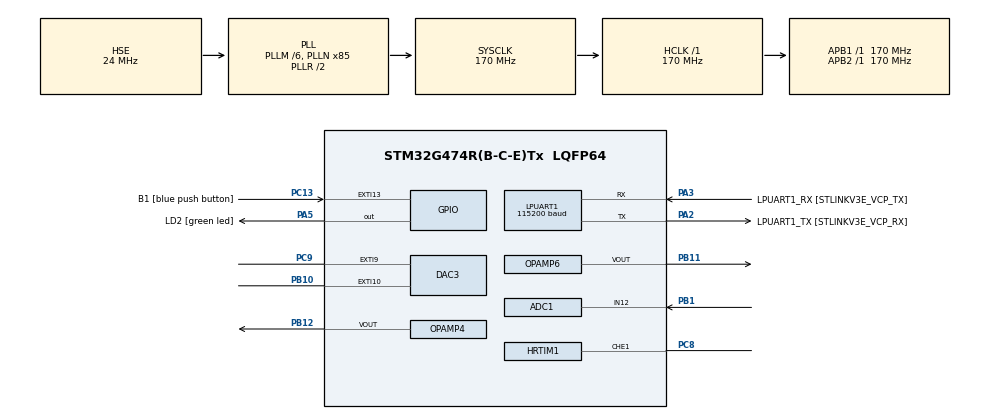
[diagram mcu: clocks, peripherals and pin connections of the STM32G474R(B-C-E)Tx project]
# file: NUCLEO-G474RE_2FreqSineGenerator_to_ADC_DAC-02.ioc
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Mcu.Family=STM32G4
HRTIM1.NumberSetSource1-Output_TE1=1
NVIC.ADC1_2_IRQn=true\:0\:0\:false\:false\:true\:true\:true
RCC.CortexFreq_Value=170000000
HRTIM1.InterleavedMode-Output_TE1=HRTIM_INTERLEAVED_MODE_DISABLED
Dma.DAC3_CH1.0.Polarity=HAL_DMAMUX_REQ_GEN_RISING
ADC1.InjectedOffsetNumber-2\#ChannelInjectedConversion=ADC_OFFSET_NONE
ADC1.Overrun=ADC_OVR_DATA_OVERWRITTEN
ADC1.ContinuousConvMode=DISABLE
Dma.DAC3_CH1.0.MemInc=DMA_MINC_ENABLE
PA14.GPIO_Label=T_SWCLK
Dma.DAC3_CH1.0.PeriphInc=DMA_PINC_DISABLE
LPUART1.WordLength=UART_WORDLENGTH_8B
PC13.GPIO_Label=B1 [blue push button]
PB11.Signal=OPAMP6_VOUT
RCC.SYSCLKSource=RCC_SYSCLKSOURCE_PLLCLK
ProjectManager.StackSize=0x400
Dma.DAC3_CH1.0.MemDataAlignment=DMA_MDATAALIGN_WORD
Dma.DAC3_CH1.0.SyncPolarity=HAL_DMAMUX_SYNC_NO_EVENT
Dma.DAC3_CH1.0.SyncEnable=DISABLE
HRTIM1.CompareUnit4-Output_TE1=HRTIM_COMPAREUNIT_4
DAC4.DAC_Trigger2_OUT1-DAC_OUT1_Int=DAC_TRIGGER_NONE
RCC.HCLKFreq_Value=170000000
RCC.APB2TimFreq_Value=170000000
DAC3.DAC_Trigger_OUT1-DAC_OUT1_Int=DAC_TRIGGER_T6_TRGO
ADC1.InjNumberOfConversion=1
HRTIM1.CompareUnit3-Output_TE1=__NULL
HRTIM1.CompareUnit2-Output_TE1=__NULL
RCC.AHBFreq_Value=170000000
HRTIM1.NumberResetSource1-Output_TE1=1
HRTIM1.ORingUpdateSource_ADCTrigger1=HRTIM_ADCTRIGGERUPDATE_TIMER_E
ADC1.Channel-0\#ChannelRegularConversion=ADC_CHANNEL_12
ADC1.ExternalTrigInjecConv=ADC_EXTERNALTRIGINJEC_HRTIM_TRG2
RCC.HSE_VALUE=24000000
PB3.Mode=Trace_Asynchronous_SW
OPAMP6.PowerMode=OPAMP_POWERMODE_HIGHSPEED
RCC.ADC12Freq_Value=170000000
RCC.RTCClockSelection=RCC_RTCCLKSOURCE_LSE
VP_DAC3_VS_DACI1.Mode=DAC_OUT1_Int
PC14-OSC32_IN.Mode=LSE-External-Oscillator
PA14.Mode=Trace_Asynchronous_SW
VP_SYS_VS_DBSignals.Mode=DisableDeadBatterySignals
HRTIM1.CompareValue4-Output_TE1=54400/2
ADC1.InjectedConvMode=None
HRTIM1.ResetOutput1_Source1-Output_TE1=HRTIM_OUTPUTRESET_TIMCMP4
OPAMP4.PowerMode=OPAMP_POWERMODE_HIGHSPEED
ADC1.SamplingTime-0\#ChannelRegularConversion=ADC_SAMPLETIME_12CYCLES_5
Mcu.Package=LQFP64
PB1.Signal=ADC1_IN12
PB12.Mode=Follower-DAC_OUT2-INP
ADC1.EnableInjectedConversion=ENABLE
ADC1.InjectedChannel-2\#ChannelInjectedConversion=ADC_CHANNEL_12
Dma.DAC3_CH1.0.Mode=DMA_CIRCULAR
TIM6.PeriodNoDither=5-1
PA2.GPIO_Label=LPUART1_TX [STLINKV3E_VCP_RX]
HRTIM1.ADCTrigger1_Source1=HRTIM_ADCTRIGGEREVENT13_TIMERE_PERIOD
ADC1.Rank1_Channel=ADC_CHANNEL_12
HRTIM1.NumberADCTriggerSource2=1
HRTIM1.NumberADCTriggerSource1=1
RCC.APB1TimFreq_Value=170000000
PF1-OSC_OUT.Mode=HSE-External-Oscillator
Dma.Request0=DAC3_CH1
ADC1.EOCSelection=ADC_EOC_SEQ_CONV
ADC1.InjectedSamplingTime-2\#ChannelInjectedConversion=ADC_SAMPLETIME_12CYCLES_5
PF1-OSC_OUT.Signal=RCC_OSC_OUT
RCC.HSI48_VALUE=48000000
PC9.GPIO_ModeDefaultEXTI=GPIO_MODE_IT_FALLING
PA3.Signal=LPUART1_RX
PB3.GPIO_Label=T_SWO
RCC.PLLSourceVirtual=RCC_PLLSOURCE_HSE
PC15-OSC32_OUT.Mode=LSE-External-Oscillator
ADC1.Rank-0\#ChannelRegularConversion=1
ADC1.OffsetNumber-0\#ChannelRegularConversion=ADC_OFFSET_NONE
HRTIM1.ADCTrigger2_Source1=HRTIM_ADCTRIGGEREVENT24_TIMERE_CMP4
PC13.Signal=GPXTI13
PC8.Signal=HRTIM1_CHE1
TIM6.Prescaler=17-1
VP_TIM6_VS_ClockSourceINT.Mode=Enable_Timer
RCC.EXTERNAL_CLOCK_VALUE=12288000
PC14-OSC32_IN.Signal=RCC_OSC32_IN
Dma.DAC3_CH1.0.Instance=DMA1_Channel1
HRTIM1.PrescalerRatio_TE=HRTIM_PRESCALERRATIO_MUL16
HRTIM1.CompareUnit1-Output_TE1=__NULL
PA13.Signal=SYS_JTMS-SWDIO
PA3.Mode=Asynchronous
Dma.DAC3_CH1.0.Direction=DMA_MEMORY_TO_PERIPH
DAC4.DAC_Trigger_OUT1-DAC_OUT1_Int=DAC_TRIGGER_SOFTWARE
DAC4.DAC_HighFrequency_OUT1-DAC_OUT1_Int=DAC_HIGH_FREQUENCY_INTERFACE_MODE_ABOVE_160MHZ
PB11.Mode=Follower-DAC_OUT2-INP
ProjectManager.TargetToolchain=STM32CubeIDE
VP_DAC4_VS_DACI1.Mode=DAC_OUT1_Int
RCC.USBFreq_Value=170000000
PC15-OSC32_OUT.Signal=RCC_OSC32_OUT
PF0-OSC_IN.Mode=HSE-External-Oscillator
Dma.DAC3_CH1.0.EventEnable=DISABLE
PB10.Signal=GPXTI10
PA5.Signal=GPIO_Output
HRTIM1.ADCTrigger_Id2=HRTIM_ADCTRIGGER_2
HRTIM1.ADCTrigger_Id1=HRTIM_ADCTRIGGER_1
Dma.DAC3_CH1.0.SyncRequestNumber=1
board=NUCLEO-G474RE
RCC.VCOOutputFreq_Value=340000000
RCC.ADC345Freq_Value=170000000
RCC.APB2Freq_Value=170000000
TIM6.TIM_MasterOutputTrigger=TIM_TRGO_UPDATE
Dma.DAC3_CH1.0.SignalID=NONE
ADC1.DMAContinuousRequests=DISABLE
PA13.Mode=Trace_Asynchronous_SW
PB10.GPIO_ModeDefaultEXTI=GPIO_MODE_IT_FALLING
Mcu.Name=STM32G474R(B-C-E)Tx
LPUART1.BaudRate=115200
PA2.Signal=LPUART1_TX
PA13.GPIO_Label=T_SWDIO
HRTIM1.SetOutput1_Source1-Output_TE1=HRTIM_OUTPUTSET_TIMPER
Dma.DAC3_CH1.0.PeriphDataAlignment=DMA_PDATAALIGN_WORD
ADC1.ExternalTrigConv=ADC_EXTERNALTRIG_HRTIM_TRG1
Dma.DAC3_CH1.0.Priority=DMA_PRIORITY_HIGH
PC8.Mode=Output_TE1
PC8.GPIO_Speed_High_Default=GPIO_SPEED_FREQ_LOW
PB3.Signal=SYS_JTDO-SWO
RCC.SYSCLKFreq_VALUE=170000000
ADC1.master=1
DAC3.DAC_HighFrequency_OUT1-DAC_OUT1_Int=DAC_HIGH_FREQUENCY_INTERFACE_MODE_ABOVE_160MHZ
PA5.GPIO_Label=LD2 [green led]
Dma.DAC3_CH1.0.RequestNumber=1
PA14.Signal=SYS_JTCK-SWCLK
ProjectManager.HeapSize=0x200
PB1.Mode=IN12-Single-Ended
RCC.HSI_VALUE=16000000
NVIC.PriorityGroup=NVIC_PRIORITYGROUP_4
ADC1.NbrOfConversionFlag=1
RCC.PLLM=RCC_PLLM_DIV6
RCC.PLLN=85
Dma.DAC3_CH1.0.SyncSignalID=NONE
PA2.Mode=Asynchronous
PC9.Signal=GPXTI9
NVIC.DMA1_Channel1_IRQn=true\:0\:0\:false\:false\:false\:false\:false
PF0-OSC_IN.Signal=RCC_OSC_IN
RCC.APB1Freq_Value=170000000
ADC1.ClockPrescaler=ADC_CLOCK_SYNC_PCLK_DIV4
PB12.Signal=OPAMP4_VOUT
HRTIM1.Periode_TE=54400
PA3.GPIO_Label=LPUART1_RX [STLINKV3E_VCP_TX]
ADC1.InjectedRank-2\#ChannelInjectedConversion=1

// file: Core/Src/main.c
/* USER CODE BEGIN Header */
/**
  ******************************************************************************
  * @file           : main.c
  * @brief          : Main program body
  ******************************************************************************
  * @attention
  *
  * <h2><center>&copy; Copyright (c) 2021 STMicroelectronics.
  * All rights reserved.</center></h2>
  *
  * This software component is licensed by ST under BSD 3-Clause license,
  * the "License"; You may not use this file except in compliance with the
  * License. You may obtain a copy of the License at:
  *                        opensource.org/licenses/BSD-3-Clause
  *
  ******************************************************************************
  */
/* USER CODE END Header */
#include "main.h"

/* USER CODE BEGIN Includes */

#include "waveforms.h"
#include <stdio.h>
#include "stm32g4xx_hal_dma.h"

/* USER CODE END Includes */

/* USER CODE BEGIN PD */

# define MySine4000_SIZE MySine2000_SIZE

/* USER CODE END PD */

ADC_HandleTypeDef hadc1;

DAC_HandleTypeDef hdac3;
DAC_HandleTypeDef hdac4;
DMA_HandleTypeDef hdma_dac3_ch1;

HRTIM_HandleTypeDef hhrtim1;

UART_HandleTypeDef hlpuart1;

OPAMP_HandleTypeDef hopamp4;
OPAMP_HandleTypeDef hopamp6;

TIM_HandleTypeDef htim6;

/* USER CODE BEGIN PV */

uint32_t MySine4000[MySine4000_SIZE];
uint32_t pass, period;
uint16_t adc_dac_value;

/* USER CODE END PV */

void SystemClock_Config(void);
static void MX_GPIO_Init(void);
static void MX_DMA_Init(void);
static void MX_LPUART1_UART_Init(void);
static void MX_DAC3_Init(void);
static void MX_OPAMP6_Init(void);
static void MX_TIM6_Init(void);
static void MX_HRTIM1_Init(void);
static void MX_DAC4_Init(void);
static void MX_OPAMP4_Init(void);
static void MX_ADC1_Init(void);
/* USER CODE BEGIN PFP */

#define PUTCHAR_PROTOTYPE int __io_putchar(int ch)

/* USER CODE END PFP */

int main(void)
{

  /* MCU Configuration--------------------------------------------------------*/

  /* Reset of all peripherals, Initializes the Flash interface and the Systick. */
  HAL_Init();

  /* Configure the system clock */
  SystemClock_Config();

  /* Initialize all configured peripherals */
  MX_GPIO_Init();
  MX_DMA_Init();
  MX_LPUART1_UART_Init();
  MX_DAC3_Init();
  MX_OPAMP6_Init();
  MX_TIM6_Init();
  MX_HRTIM1_Init();
  MX_DAC4_Init();
  MX_OPAMP4_Init();
  MX_ADC1_Init();
  /* USER CODE BEGIN 2 */

//  for (uint16_t cntr = 0; cntr < MySine2000_SIZE; cntr++)
//  {
//	  MySine2000[cntr] += 682;
//	  MySine2000[cntr] += MySine200[cntr % MySine200_SIZE];
//  }

  /*##- Enable DAC Channel and associated DMA ##############################*/
  if(HAL_OK != HAL_DAC_Start_DMA(&hdac3, DAC_CHANNEL_1,
  				   (uint32_t*)MySine2000, MySine2000_SIZE, DAC_ALIGN_12B_R))
  {
  	/* Start DMA Error */
  	Error_Handler();
  }

//  /*##- Enable DAC Channel and associated DMA ##############################*/
//  if(HAL_OK != HAL_DAC_Start_DMA(&hdac4, DAC_CHANNEL_1,
//  				   				&adc_dac_value, 1, DAC_ALIGN_12B_R))
//  {
//  	/* Start DMA Error */
//  	Error_Handler();
//  }

  /*##- Enable DAC Channel and associated DMA ##############################*/
  if(HAL_OK != HAL_DAC_Start(&hdac4, DAC_CHANNEL_1))
  {
  	/* Start DMA Error */
  	Error_Handler();
  }

  /*##- Start OPAMP    #####################################################*/
  /* Enable OPAMP */
  if(HAL_OK != HAL_OPAMP_Start(&hopamp6))
  {
  	Error_Handler();
  }

  /*##- Start OPAMP    #####################################################*/
  /* Enable OPAMP */
  if(HAL_OK != HAL_OPAMP_Start(&hopamp4))
  {
  	Error_Handler();
  }

//  /*##- Enable ADC Channel and associated DMA ##############################*/
//  if(HAL_OK != HAL_ADC_Start_DMA(&hadc1, &adc_dac_value, 1))
//  {
//  	/* Start DMA Error */
//  	Error_Handler();
//  }

  /*##- Enable Injected ADC Channel ##############################*/
  if(HAL_OK != HAL_ADCEx_InjectedStart_IT(&hadc1))
  {
  	/* Start DMA Error */
  	Error_Handler();
  }

  /*##- Enable TIM peripheral counter ######################################*/
  if(HAL_OK != HAL_TIM_Base_Start(&htim6))
  {
	Error_Handler();
  }

  HAL_HRTIM_WaveformOutputStart(&hhrtim1, HRTIM_OUTPUT_TE1 );
  HAL_HRTIM_WaveformCounterStart_IT(&hhrtim1, HRTIM_TIMERID_TIMER_E);

  /* USER CODE END 2 */

  /* Infinite loop */
  /* USER CODE BEGIN WHILE */
  while (1)
  {

	  HAL_GPIO_TogglePin(GPIOA, GPIO_PIN_5);

    /* USER CODE END WHILE */

  }
}

void SystemClock_Config(void)
{
  RCC_OscInitTypeDef RCC_OscInitStruct = {0};
  RCC_ClkInitTypeDef RCC_ClkInitStruct = {0};
  RCC_PeriphCLKInitTypeDef PeriphClkInit = {0};

  /** Configure the main internal regulator output voltage
  */
  HAL_PWREx_ControlVoltageScaling(PWR_REGULATOR_VOLTAGE_SCALE1_BOOST);
  /** Initializes the RCC Oscillators according to the specified parameters
  * in the RCC_OscInitTypeDef structure.
  */
  RCC_OscInitStruct.OscillatorType = RCC_OSCILLATORTYPE_HSE;
  RCC_OscInitStruct.HSEState = RCC_HSE_ON;
  RCC_OscInitStruct.PLL.PLLState = RCC_PLL_ON;
  RCC_OscInitStruct.PLL.PLLSource = RCC_PLLSOURCE_HSE;
  RCC_OscInitStruct.PLL.PLLM = RCC_PLLM_DIV6;
  RCC_OscInitStruct.PLL.PLLN = 85;
  RCC_OscInitStruct.PLL.PLLP = RCC_PLLP_DIV2;
  RCC_OscInitStruct.PLL.PLLQ = RCC_PLLQ_DIV2;
  RCC_OscInitStruct.PLL.PLLR = RCC_PLLR_DIV2;
  if (HAL_RCC_OscConfig(&RCC_OscInitStruct) != HAL_OK)
  {
    Error_Handler();
  }
  /** Initializes the CPU, AHB and APB buses clocks
  */
  RCC_ClkInitStruct.ClockType = RCC_CLOCKTYPE_HCLK|RCC_CLOCKTYPE_SYSCLK
                              |RCC_CLOCKTYPE_PCLK1|RCC_CLOCKTYPE_PCLK2;
  RCC_ClkInitStruct.SYSCLKSource = RCC_SYSCLKSOURCE_PLLCLK;
  RCC_ClkInitStruct.AHBCLKDivider = RCC_SYSCLK_DIV1;
  RCC_ClkInitStruct.APB1CLKDivider = RCC_HCLK_DIV1;
  RCC_ClkInitStruct.APB2CLKDivider = RCC_HCLK_DIV1;

  if (HAL_RCC_ClockConfig(&RCC_ClkInitStruct, FLASH_LATENCY_4) != HAL_OK)
  {
    Error_Handler();
  }
  /** Initializes the peripherals clocks
  */
  PeriphClkInit.PeriphClockSelection = RCC_PERIPHCLK_LPUART1|RCC_PERIPHCLK_ADC12;
  PeriphClkInit.Lpuart1ClockSelection = RCC_LPUART1CLKSOURCE_PCLK1;
  PeriphClkInit.Adc12ClockSelection = RCC_ADC12CLKSOURCE_SYSCLK;
  if (HAL_RCCEx_PeriphCLKConfig(&PeriphClkInit) != HAL_OK)
  {
    Error_Handler();
  }
}

static void MX_ADC1_Init(void)
{

  ADC_MultiModeTypeDef multimode = {0};
  ADC_ChannelConfTypeDef sConfig = {0};
  ADC_InjectionConfTypeDef sConfigInjected = {0};

  /** Common config
  */
  hadc1.Instance = ADC1;
  hadc1.Init.ClockPrescaler = ADC_CLOCK_SYNC_PCLK_DIV4;
  hadc1.Init.Resolution = ADC_RESOLUTION_12B;
  hadc1.Init.DataAlign = ADC_DATAALIGN_RIGHT;
  hadc1.Init.GainCompensation = 0;
  hadc1.Init.ScanConvMode = ADC_SCAN_DISABLE;
  hadc1.Init.EOCSelection = ADC_EOC_SEQ_CONV;
  hadc1.Init.LowPowerAutoWait = DISABLE;
  hadc1.Init.ContinuousConvMode = DISABLE;
  hadc1.Init.NbrOfConversion = 1;
  hadc1.Init.DiscontinuousConvMode = DISABLE;
  hadc1.Init.ExternalTrigConv = ADC_EXTERNALTRIG_HRTIM_TRG1;
  hadc1.Init.ExternalTrigConvEdge = ADC_EXTERNALTRIGCONVEDGE_RISING;
  hadc1.Init.DMAContinuousRequests = DISABLE;
  hadc1.Init.Overrun = ADC_OVR_DATA_OVERWRITTEN;
  hadc1.Init.OversamplingMode = DISABLE;
  if (HAL_ADC_Init(&hadc1) != HAL_OK)
  {
    Error_Handler();
  }
  /** Configure the ADC multi-mode
  */
  multimode.Mode = ADC_MODE_INDEPENDENT;
  if (HAL_ADCEx_MultiModeConfigChannel(&hadc1, &multimode) != HAL_OK)
  {
    Error_Handler();
  }
  /** Configure Regular Channel
  */
  sConfig.Channel = ADC_CHANNEL_12;
  sConfig.Rank = ADC_REGULAR_RANK_1;
  sConfig.SamplingTime = ADC_SAMPLETIME_12CYCLES_5;
  sConfig.SingleDiff = ADC_SINGLE_ENDED;
  sConfig.OffsetNumber = ADC_OFFSET_NONE;
  sConfig.Offset = 0;
  if (HAL_ADC_ConfigChannel(&hadc1, &sConfig) != HAL_OK)
  {
    Error_Handler();
  }
  /** Configure Injected Channel
  */
  sConfigInjected.InjectedChannel = ADC_CHANNEL_12;
  sConfigInjected.InjectedRank = ADC_INJECTED_RANK_1;
  sConfigInjected.InjectedSamplingTime = ADC_SAMPLETIME_12CYCLES_5;
  sConfigInjected.InjectedSingleDiff = ADC_SINGLE_ENDED;
  sConfigInjected.InjectedOffsetNumber = ADC_OFFSET_NONE;
  sConfigInjected.InjectedOffset = 0;
  sConfigInjected.InjectedNbrOfConversion = 1;
  sConfigInjected.InjectedDiscontinuousConvMode = DISABLE;
  sConfigInjected.AutoInjectedConv = DISABLE;
  sConfigInjected.QueueInjectedContext = DISABLE;
  sConfigInjected.ExternalTrigInjecConv = ADC_EXTERNALTRIGINJEC_HRTIM_TRG2;
  sConfigInjected.ExternalTrigInjecConvEdge = ADC_EXTERNALTRIGINJECCONV_EDGE_RISING;
  sConfigInjected.InjecOversamplingMode = DISABLE;
  if (HAL_ADCEx_InjectedConfigChannel(&hadc1, &sConfigInjected) != HAL_OK)
  {
    Error_Handler();
  }
  /* USER CODE BEGIN ADC1_Init 2 */

  /* Run the ADC calibration in single-ended mode */
  if (HAL_ADCEx_Calibration_Start(&hadc1, ADC_SINGLE_ENDED) != HAL_OK)
  {
    /* Calibration Error */
    Error_Handler();
  }

  /* USER CODE END ADC1_Init 2 */

}

static void MX_DAC3_Init(void)
{

  DAC_ChannelConfTypeDef sConfig = {0};

  /** DAC Initialization
  */
  hdac3.Instance = DAC3;
  if (HAL_DAC_Init(&hdac3) != HAL_OK)
  {
    Error_Handler();
  }
  /** DAC channel OUT1 config
  */
  sConfig.DAC_HighFrequency = DAC_HIGH_FREQUENCY_INTERFACE_MODE_ABOVE_160MHZ;
  sConfig.DAC_DMADoubleDataMode = DISABLE;
  sConfig.DAC_SignedFormat = DISABLE;
  sConfig.DAC_SampleAndHold = DAC_SAMPLEANDHOLD_DISABLE;
  sConfig.DAC_Trigger = DAC_TRIGGER_T6_TRGO;
  sConfig.DAC_Trigger2 = DAC_TRIGGER_NONE;
  sConfig.DAC_OutputBuffer = DAC_OUTPUTBUFFER_DISABLE;
  sConfig.DAC_ConnectOnChipPeripheral = DAC_CHIPCONNECT_INTERNAL;
  sConfig.DAC_UserTrimming = DAC_TRIMMING_FACTORY;
  if (HAL_DAC_ConfigChannel(&hdac3, &sConfig, DAC_CHANNEL_1) != HAL_OK)
  {
    Error_Handler();
  }

}

static void MX_DAC4_Init(void)
{

  DAC_ChannelConfTypeDef sConfig = {0};

  /** DAC Initialization
  */
  hdac4.Instance = DAC4;
  if (HAL_DAC_Init(&hdac4) != HAL_OK)
  {
    Error_Handler();
  }
  /** DAC channel OUT1 config
  */
  sConfig.DAC_HighFrequency = DAC_HIGH_FREQUENCY_INTERFACE_MODE_ABOVE_160MHZ;
  sConfig.DAC_DMADoubleDataMode = DISABLE;
  sConfig.DAC_SignedFormat = DISABLE;
  sConfig.DAC_SampleAndHold = DAC_SAMPLEANDHOLD_DISABLE;
  sConfig.DAC_Trigger = DAC_TRIGGER_SOFTWARE;
  sConfig.DAC_Trigger2 = DAC_TRIGGER_NONE;
  sConfig.DAC_OutputBuffer = DAC_OUTPUTBUFFER_DISABLE;
  sConfig.DAC_ConnectOnChipPeripheral = DAC_CHIPCONNECT_INTERNAL;
  sConfig.DAC_UserTrimming = DAC_TRIMMING_FACTORY;
  if (HAL_DAC_ConfigChannel(&hdac4, &sConfig, DAC_CHANNEL_1) != HAL_OK)
  {
    Error_Handler();
  }

}

static void MX_HRTIM1_Init(void)
{

  HRTIM_ADCTriggerCfgTypeDef pADCTriggerCfg = {0};
  HRTIM_TimeBaseCfgTypeDef pTimeBaseCfg = {0};
  HRTIM_TimerCtlTypeDef pTimerCtl = {0};
  HRTIM_TimerCfgTypeDef pTimerCfg = {0};
  HRTIM_CompareCfgTypeDef pCompareCfg = {0};
  HRTIM_OutputCfgTypeDef pOutputCfg = {0};

  hhrtim1.Instance = HRTIM1;
  hhrtim1.Init.HRTIMInterruptResquests = HRTIM_IT_NONE;
  hhrtim1.Init.SyncOptions = HRTIM_SYNCOPTION_NONE;
  if (HAL_HRTIM_Init(&hhrtim1) != HAL_OK)
  {
    Error_Handler();
  }
  if (HAL_HRTIM_DLLCalibrationStart(&hhrtim1, HRTIM_CALIBRATIONRATE_3) != HAL_OK)
  {
    Error_Handler();
  }
  if (HAL_HRTIM_PollForDLLCalibration(&hhrtim1, 10) != HAL_OK)
  {
    Error_Handler();
  }
  pADCTriggerCfg.UpdateSource = HRTIM_ADCTRIGGERUPDATE_TIMER_E;
  pADCTriggerCfg.Trigger = HRTIM_ADCTRIGGEREVENT13_TIMERE_PERIOD;
  if (HAL_HRTIM_ADCTriggerConfig(&hhrtim1, HRTIM_ADCTRIGGER_1, &pADCTriggerCfg) != HAL_OK)
  {
    Error_Handler();
  }
  if (HAL_HRTIM_ADCPostScalerConfig(&hhrtim1, HRTIM_ADCTRIGGER_1, 0x0) != HAL_OK)
  {
    Error_Handler();
  }
  pADCTriggerCfg.Trigger = HRTIM_ADCTRIGGEREVENT24_TIMERE_CMP4;
  if (HAL_HRTIM_ADCTriggerConfig(&hhrtim1, HRTIM_ADCTRIGGER_2, &pADCTriggerCfg) != HAL_OK)
  {
    Error_Handler();
  }
  if (HAL_HRTIM_ADCPostScalerConfig(&hhrtim1, HRTIM_ADCTRIGGER_2, 0x0) != HAL_OK)
  {
    Error_Handler();
  }
  pTimeBaseCfg.Period = 54400;
  pTimeBaseCfg.RepetitionCounter = 0x00;
  pTimeBaseCfg.PrescalerRatio = HRTIM_PRESCALERRATIO_MUL16;
  pTimeBaseCfg.Mode = HRTIM_MODE_CONTINUOUS;
  if (HAL_HRTIM_TimeBaseConfig(&hhrtim1, HRTIM_TIMERINDEX_TIMER_E, &pTimeBaseCfg) != HAL_OK)
  {
    Error_Handler();
  }
  pTimerCtl.UpDownMode = HRTIM_TIMERUPDOWNMODE_UP;
  pTimerCtl.DualChannelDacEnable = HRTIM_TIMER_DCDE_DISABLED;
  if (HAL_HRTIM_WaveformTimerControl(&hhrtim1, HRTIM_TIMERINDEX_TIMER_E, &pTimerCtl) != HAL_OK)
  {
    Error_Handler();
  }
  pTimerCfg.InterruptRequests = HRTIM_MASTER_IT_NONE;
  pTimerCfg.DMARequests = HRTIM_TIM_DMA_NONE;
  pTimerCfg.DMASrcAddress = 0x0000;
  pTimerCfg.DMADstAddress = 0x0000;
  pTimerCfg.DMASize = 0x1;
  pTimerCfg.HalfModeEnable = HRTIM_HALFMODE_DISABLED;
  pTimerCfg.InterleavedMode = HRTIM_INTERLEAVED_MODE_DISABLED;
  pTimerCfg.StartOnSync = HRTIM_SYNCSTART_DISABLED;
  pTimerCfg.ResetOnSync = HRTIM_SYNCRESET_DISABLED;
  pTimerCfg.DACSynchro = HRTIM_DACSYNC_NONE;
  pTimerCfg.PreloadEnable = HRTIM_PRELOAD_DISABLED;
  pTimerCfg.UpdateGating = HRTIM_UPDATEGATING_INDEPENDENT;
  pTimerCfg.BurstMode = HRTIM_TIMERBURSTMODE_MAINTAINCLOCK;
  pTimerCfg.RepetitionUpdate = HRTIM_UPDATEONREPETITION_DISABLED;
  pTimerCfg.PushPull = HRTIM_TIMPUSHPULLMODE_DISABLED;
  pTimerCfg.FaultEnable = HRTIM_TIMFAULTENABLE_NONE;
  pTimerCfg.FaultLock = HRTIM_TIMFAULTLOCK_READWRITE;
  pTimerCfg.DeadTimeInsertion = HRTIM_TIMDEADTIMEINSERTION_DISABLED;
  pTimerCfg.DelayedProtectionMode = HRTIM_TIMER_D_E_DELAYEDPROTECTION_DISABLED;
  pTimerCfg.UpdateTrigger = HRTIM_TIMUPDATETRIGGER_NONE;
  pTimerCfg.ResetTrigger = HRTIM_TIMRESETTRIGGER_NONE;
  pTimerCfg.ResetUpdate = HRTIM_TIMUPDATEONRESET_DISABLED;
  pTimerCfg.ReSyncUpdate = HRTIM_TIMERESYNC_UPDATE_UNCONDITIONAL;
  if (HAL_HRTIM_WaveformTimerConfig(&hhrtim1, HRTIM_TIMERINDEX_TIMER_E, &pTimerCfg) != HAL_OK)
  {
    Error_Handler();
  }
  pCompareCfg.CompareValue = 54400/2;
  pCompareCfg.AutoDelayedMode = HRTIM_AUTODELAYEDMODE_REGULAR;
  pCompareCfg.AutoDelayedTimeout = 0x0000;

  if (HAL_HRTIM_WaveformCompareConfig(&hhrtim1, HRTIM_TIMERINDEX_TIMER_E, HRTIM_COMPAREUNIT_4, &pCompareCfg) != HAL_OK)
  {
    Error_Handler();
  }
  pOutputCfg.Polarity = HRTIM_OUTPUTPOLARITY_HIGH;
  pOutputCfg.SetSource = HRTIM_OUTPUTSET_TIMPER;
  pOutputCfg.ResetSource = HRTIM_OUTPUTRESET_TIMCMP4;
  pOutputCfg.IdleMode = HRTIM_OUTPUTIDLEMODE_NONE;
  pOutputCfg.IdleLevel = HRTIM_OUTPUTIDLELEVEL_INACTIVE;
  pOutputCfg.FaultLevel = HRTIM_OUTPUTFAULTLEVEL_NONE;
  pOutputCfg.ChopperModeEnable = HRTIM_OUTPUTCHOPPERMODE_DISABLED;
  pOutputCfg.BurstModeEntryDelayed = HRTIM_OUTPUTBURSTMODEENTRY_REGULAR;
  if (HAL_HRTIM_WaveformOutputConfig(&hhrtim1, HRTIM_TIMERINDEX_TIMER_E, HRTIM_OUTPUT_TE1, &pOutputCfg) != HAL_OK)
  {
    Error_Handler();
  }
  HAL_HRTIM_MspPostInit(&hhrtim1);

}

static void MX_LPUART1_UART_Init(void)
{

  hlpuart1.Instance = LPUART1;
  hlpuart1.Init.BaudRate = 115200;
  hlpuart1.Init.WordLength = UART_WORDLENGTH_8B;
  hlpuart1.Init.StopBits = UART_STOPBITS_1;
  hlpuart1.Init.Parity = UART_PARITY_NONE;
  hlpuart1.Init.Mode = UART_MODE_TX_RX;
  hlpuart1.Init.HwFlowCtl = UART_HWCONTROL_NONE;
  hlpuart1.Init.OneBitSampling = UART_ONE_BIT_SAMPLE_DISABLE;
  hlpuart1.Init.ClockPrescaler = UART_PRESCALER_DIV1;
  hlpuart1.AdvancedInit.AdvFeatureInit = UART_ADVFEATURE_NO_INIT;
  if (HAL_UART_Init(&hlpuart1) != HAL_OK)
  {
    Error_Handler();
  }
  if (HAL_UARTEx_SetTxFifoThreshold(&hlpuart1, UART_TXFIFO_THRESHOLD_1_8) != HAL_OK)
  {
    Error_Handler();
  }
  if (HAL_UARTEx_SetRxFifoThreshold(&hlpuart1, UART_RXFIFO_THRESHOLD_1_8) != HAL_OK)
  {
    Error_Handler();
  }
  if (HAL_UARTEx_DisableFifoMode(&hlpuart1) != HAL_OK)
  {
    Error_Handler();
  }

}

static void MX_OPAMP4_Init(void)
{

  hopamp4.Instance = OPAMP4;
  hopamp4.Init.PowerMode = OPAMP_POWERMODE_HIGHSPEED;
  hopamp4.Init.Mode = OPAMP_FOLLOWER_MODE;
  hopamp4.Init.NonInvertingInput = OPAMP_NONINVERTINGINPUT_DAC;
  hopamp4.Init.InternalOutput = DISABLE;
  hopamp4.Init.TimerControlledMuxmode = OPAMP_TIMERCONTROLLEDMUXMODE_DISABLE;
  hopamp4.Init.UserTrimming = OPAMP_TRIMMING_FACTORY;
  if (HAL_OPAMP_Init(&hopamp4) != HAL_OK)
  {
    Error_Handler();
  }

}

static void MX_OPAMP6_Init(void)
{

  hopamp6.Instance = OPAMP6;
  hopamp6.Init.PowerMode = OPAMP_POWERMODE_HIGHSPEED;
  hopamp6.Init.Mode = OPAMP_FOLLOWER_MODE;
  hopamp6.Init.NonInvertingInput = OPAMP_NONINVERTINGINPUT_DAC;
  hopamp6.Init.InternalOutput = DISABLE;
  hopamp6.Init.TimerControlledMuxmode = OPAMP_TIMERCONTROLLEDMUXMODE_DISABLE;
  hopamp6.Init.UserTrimming = OPAMP_TRIMMING_FACTORY;
  if (HAL_OPAMP_Init(&hopamp6) != HAL_OK)
  {
    Error_Handler();
  }

}

static void MX_TIM6_Init(void)
{

  TIM_MasterConfigTypeDef sMasterConfig = {0};

  htim6.Instance = TIM6;
  htim6.Init.Prescaler = 17-1;
  htim6.Init.CounterMode = TIM_COUNTERMODE_UP;
  htim6.Init.Period = 4;
  htim6.Init.AutoReloadPreload = TIM_AUTORELOAD_PRELOAD_DISABLE;
  if (HAL_TIM_Base_Init(&htim6) != HAL_OK)
  {
    Error_Handler();
  }
  sMasterConfig.MasterOutputTrigger = TIM_TRGO_UPDATE;
  sMasterConfig.MasterSlaveMode = TIM_MASTERSLAVEMODE_DISABLE;
  if (HAL_TIMEx_MasterConfigSynchronization(&htim6, &sMasterConfig) != HAL_OK)
  {
    Error_Handler();
  }

}

static void MX_DMA_Init(void)
{

  /* DMA controller clock enable */
  __HAL_RCC_DMAMUX1_CLK_ENABLE();
  __HAL_RCC_DMA1_CLK_ENABLE();

  /* DMA interrupt init */
  /* DMA1_Channel1_IRQn interrupt configuration */
  HAL_NVIC_SetPriority(DMA1_Channel1_IRQn, 0, 0);
  HAL_NVIC_EnableIRQ(DMA1_Channel1_IRQn);

}

static void MX_GPIO_Init(void)
{
  GPIO_InitTypeDef GPIO_InitStruct = {0};

  /* GPIO Ports Clock Enable */
  __HAL_RCC_GPIOC_CLK_ENABLE();
  __HAL_RCC_GPIOF_CLK_ENABLE();
  __HAL_RCC_GPIOA_CLK_ENABLE();
  __HAL_RCC_GPIOB_CLK_ENABLE();

  /*Configure GPIO pin Output Level */
  HAL_GPIO_WritePin(LD2_GPIO_Port, LD2_Pin, GPIO_PIN_RESET);

  /*Configure GPIO pin : B1_Pin */
  GPIO_InitStruct.Pin = B1_Pin;
  GPIO_InitStruct.Mode = GPIO_MODE_IT_RISING;
  GPIO_InitStruct.Pull = GPIO_NOPULL;
  HAL_GPIO_Init(B1_GPIO_Port, &GPIO_InitStruct);

  /*Configure GPIO pin : LD2_Pin */
  GPIO_InitStruct.Pin = LD2_Pin;
  GPIO_InitStruct.Mode = GPIO_MODE_OUTPUT_PP;
  GPIO_InitStruct.Pull = GPIO_NOPULL;
  GPIO_InitStruct.Speed = GPIO_SPEED_FREQ_LOW;
  HAL_GPIO_Init(LD2_GPIO_Port, &GPIO_InitStruct);

  /*Configure GPIO pin : PB10 */
  GPIO_InitStruct.Pin = GPIO_PIN_10;
  GPIO_InitStruct.Mode = GPIO_MODE_IT_FALLING;
  GPIO_InitStruct.Pull = GPIO_NOPULL;
  HAL_GPIO_Init(GPIOB, &GPIO_InitStruct);

  /*Configure GPIO pin : PC9 */
  GPIO_InitStruct.Pin = GPIO_PIN_9;
  GPIO_InitStruct.Mode = GPIO_MODE_IT_FALLING;
  GPIO_InitStruct.Pull = GPIO_NOPULL;
  HAL_GPIO_Init(GPIOC, &GPIO_InitStruct);

}

/* USER CODE BEGIN 4 */

PUTCHAR_PROTOTYPE
{
  /* Place your implementation of fputc here */
  /* e.g. write a character to the LPUART1 and Loop until the end of transmission */
  HAL_UART_Transmit(&hlpuart1, (uint8_t *)&ch, 1, 0xFFFF);

  return ch;
}

HAL_ADC_ConvCpltCallback(ADC_HandleTypeDef *hadc)
{
  /* Prevent unused argument(s) compilation warning */
  UNUSED(hadc);

  /* NOTE : This function should not be modified. When the callback is needed,
            function HAL_ADC_ConvCpltCallback must be implemented in the user file.
   */

  HAL_GPIO_TogglePin(GPIOA, GPIO_PIN_5);
//  HAL_DAC_SetValue(&hadc1, DAC_CHANNEL_1, DAC_ALIGN_12B_R, HAL_ADCEx_InjectedGetValue(&hadc1, ADC_INJECTED_RANK_1));

}

//void HAL_DAC_ConvCpltCallbackCh1(DAC_HandleTypeDef *hdac)
//{
//  /* Prevent unused argument(s) compilation warning */
//  UNUSED(hdac);
//
//  /* NOTE : This function should not be modified, when the callback is needed,
//            the HAL_DAC_ConvCpltCallbackCh1 could be implemented in the user file
//   */
//
//  GPIOC->BSRR = (1<<(8));
//  period++;
//  if (period == 3)
//  {
//	  period = 0;
//	  if (pass == 1)
//	  {
//		  pass = 0;
//		  hdma_dac3_ch1.Instance->CMAR = MySine4000;
//	  }
//	  else
//	  {
//		  pass = 1;
//		  hdma_dac3_ch1.Instance->CMAR = MySine2000;
//	  }
//  }
//  GPIOC->BSRR = (1<<(8+16));
//
////  hdma_dac3_ch1.Instance->CMAR = MySine4000;
//
//}

//void HAL_DAC_ConvHalfCpltCallbackCh1(DAC_HandleTypeDef *hdac)
//{
//  /* Prevent unused argument(s) compilation warning */
//  UNUSED(hdac);
//
//  /* NOTE : This function should not be modified, when the callback is needed,
//            the HAL_DAC_ConvHalfCpltCallbackCh1 could be implemented in the user file
//   */
//
//  hdma_dac3_ch1.Instance->CMAR = MySine2000;
//
//}

/* USER CODE END 4 */

void Error_Handler(void)
{
  /* USER CODE BEGIN Error_Handler_Debug */
  /* User can add his own implementation to report the HAL error return state */
  __disable_irq();
  while (1)
  {
	  HAL_Delay(100);
	  HAL_GPIO_TogglePin(GPIOA, GPIO_PIN_5);
  }
  /* USER CODE END Error_Handler_Debug */
}

/************************ (C) COPYRIGHT STMicroelectronics *****END OF FILE****/
